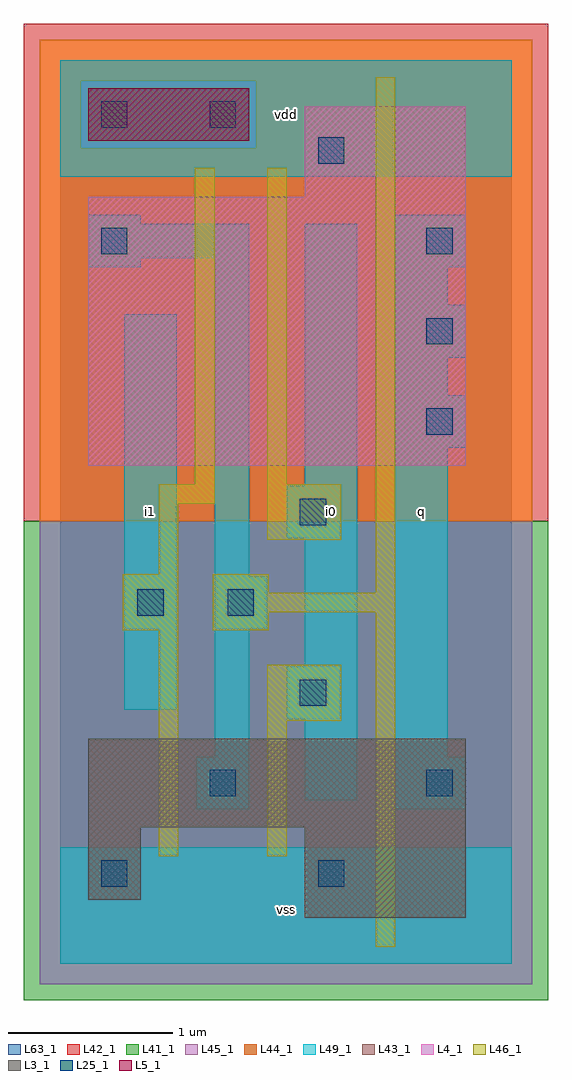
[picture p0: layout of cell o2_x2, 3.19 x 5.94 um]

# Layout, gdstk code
import gdstk
lib = gdstk.Library(unit=1e-6, precision=1e-09)
def R(c, l, rs):  # rectangles x0, y0, x1, y1
    for r in rs: c.add(gdstk.rectangle(r[:2], r[2:], *l))
def A(c, l, x, y, w, h, nx, ny, dx, dy):  # array of equal rectangles
    R(c, l, [(x+i*dx, y+j*dy, x+i*dx+w, y+j*dy+h) for i in range(nx) for j in range(ny)])
L3_1 = (3, 1)
L4_1 = (4, 1)
L5_1 = (5, 1)
L25_1 = (25, 1)
L41_1 = (41, 1)
L42_1 = (42, 1)
L43_1 = (43, 1)
L44_1 = (44, 1)
L45_1 = (45, 1)
L46_1 = (46, 1)
L49_1 = (49, 1)
L63_1 = (63, 1)

o2_x2 = lib.new_cell('o2_x2')
R(o2_x2, L3_1, [(1.49,0.28,2.47,0.83), (0.17,0.39,0.49,0.83), (0.17,0.83,2.47,1.37)])
R(o2_x2, L4_1, [(0.17,3.03,2.47,4.67), (1.49,4.67,2.47,5.22)])
R(o2_x2, L5_1, [(0.17,5.01,1.15,5.33)])
A(o2_x2, L25_1, 2.23, 3.22, 0.16, 0.16, 1, 3, 0, 0.55)
R(o2_x2, L25_1, [(0.25,0.47,0.41,0.63), (1.57,0.47,1.73,0.63), (0.91,1.02,1.07,1.18), (2.23,1.02,2.39,1.18), (1.46,1.57,1.62,1.73), (0.47,2.12,0.63,2.28), (1.02,2.12,1.18,2.28), (1.46,2.67,1.62,2.83), (0.25,4.32,0.41,4.48), (1.57,4.87,1.73,5.03), (0.25,5.09,0.41,5.25), (0.91,5.09,1.07,5.25)])
R(o2_x2, L41_1, [(-0.22,-0.22,2.97,2.695)])
R(o2_x2, L42_1, [(-0.22,2.695,2.97,5.72)])
R(o2_x2, L43_1, [(1.49,0.28,2.47,0.83), (0.17,0.39,0.49,0.83), (0.17,0.83,2.47,1.37), (0.17,3.03,2.47,4.67), (1.49,4.67,2.47,5.22), (0.17,5.01,1.15,5.33)])
R(o2_x2, L44_1, [(-0.125,2.695,2.875,4.965), (-0.125,4.965,0.125,5.375), (1.195,4.965,2.875,5.375), (-0.125,5.375,2.875,5.625)])
R(o2_x2, L45_1, [(-0.125,-0.125,2.875,2.695), (0.125,4.965,1.195,5.375)])
R(o2_x2, L46_1, [(1.92,0.105,2.04,2.14), (0.6,0.655,0.72,2.03), (1.26,0.655,1.38,1.48), (1.26,1.48,1.71,1.82), (0.38,2.03,0.72,2.37), (0.93,2.03,1.27,2.14), (0.93,2.14,2.04,2.26), (0.93,2.26,1.27,2.37), (1.92,2.26,2.04,5.395), (0.6,2.37,0.72,2.8), (1.26,2.58,1.71,2.92), (0.6,2.8,0.94,2.92), (0.82,2.92,0.94,4.845), (1.26,2.92,1.38,4.845)])
A(o2_x2, L49_1, 2.04, 3.14, 0.43, 0.32, 1, 3, 0, 0.55)
R(o2_x2, L49_1, [(0,0,2.75,0.71), (0.83,0.94,1.15,1.26), (2.04,0.94,2.47,1.26), (1.49,0.995,1.81,1.49), (0.94,1.26,1.15,2.04), (2.04,1.26,2.36,3.14), (1.38,1.49,1.81,1.81), (0.39,1.545,0.71,3.955), (1.49,1.81,1.81,2.59), (0.94,2.04,1.26,2.36), (0.94,2.36,1.15,4.295), (1.38,2.59,1.81,2.91), (1.49,2.91,1.81,4.505), (2.04,3.46,2.36,3.69), (2.04,4.01,2.36,4.24), (0.17,4.24,0.49,4.295), (0.17,4.295,1.15,4.505), (0.17,4.505,0.49,4.56), (0,4.79,2.75,5.5)])
R(o2_x2, L63_1, [(0,0,2.75,5.5)])
o2_x2.add(gdstk.Label('i1', (0.55,2.75), layer=49, texttype=1))
o2_x2.add(gdstk.Label('i1', (0.55,2.75), layer=49, texttype=1))
o2_x2.add(gdstk.Label('vss', (1.375,0.33), layer=49, texttype=1))
o2_x2.add(gdstk.Label('vss', (1.375,0.33), layer=49, texttype=1))
o2_x2.add(gdstk.Label('i0', (1.65,2.75), layer=49, texttype=1))
o2_x2.add(gdstk.Label('i0', (1.65,2.75), layer=49, texttype=1))
o2_x2.add(gdstk.Label('vdd', (1.375,5.17), layer=49, texttype=1))
o2_x2.add(gdstk.Label('vdd', (1.375,5.17), layer=49, texttype=1))
o2_x2.add(gdstk.Label('q', (2.2,2.75), layer=49, texttype=1))
o2_x2.add(gdstk.Label('q', (2.2,2.75), layer=49, texttype=1))

lib.write_gds('o2_x2.gds')
